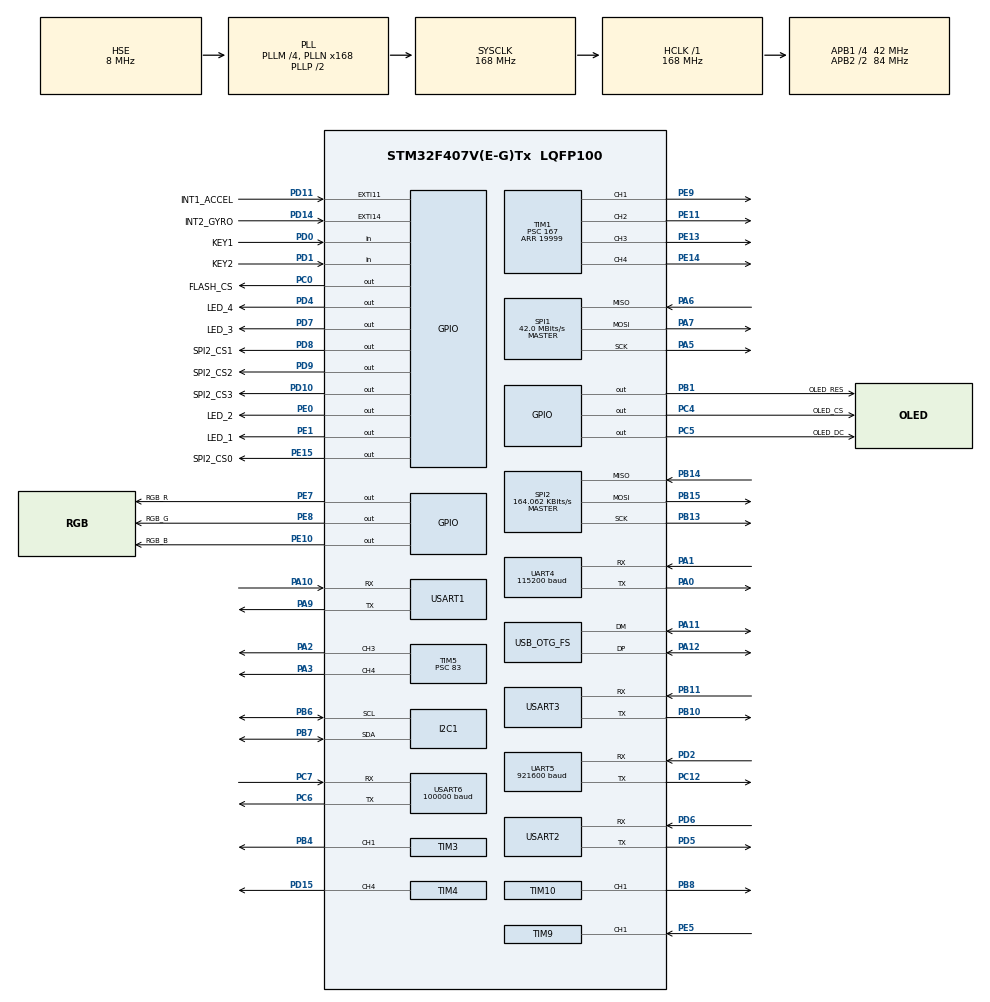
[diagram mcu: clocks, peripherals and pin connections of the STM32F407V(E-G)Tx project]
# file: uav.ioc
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Dma.Request0=USART6_RX
Dma.Request1=SPI1_RX
Dma.Request10=UART5_RX
Dma.Request11=UART5_TX
Dma.Request12=SPI1_TX
Dma.Request2=SPI2_RX
Dma.Request3=USART3_RX
Dma.Request4=USART3_TX
Dma.Request5=USART1_TX
Dma.Request6=USART1_RX
Dma.Request7=USART2_RX
Dma.Request8=USART2_TX
Dma.Request9=UART4_RX
Dma.SPI1_RX.1.Direction=DMA_PERIPH_TO_MEMORY
Dma.SPI1_RX.1.FIFOMode=DMA_FIFOMODE_DISABLE
Dma.SPI1_RX.1.Instance=DMA2_Stream2
Dma.SPI1_RX.1.MemDataAlignment=DMA_MDATAALIGN_BYTE
Dma.SPI1_RX.1.MemInc=DMA_MINC_ENABLE
Dma.SPI1_RX.1.Mode=DMA_NORMAL
Dma.SPI1_RX.1.PeriphDataAlignment=DMA_PDATAALIGN_BYTE
Dma.SPI1_RX.1.PeriphInc=DMA_PINC_DISABLE
Dma.SPI1_RX.1.Priority=DMA_PRIORITY_LOW
Dma.SPI1_TX.12.Direction=DMA_MEMORY_TO_PERIPH
Dma.SPI1_TX.12.FIFOMode=DMA_FIFOMODE_DISABLE
Dma.SPI1_TX.12.Instance=DMA2_Stream3
Dma.SPI1_TX.12.MemDataAlignment=DMA_MDATAALIGN_BYTE
Dma.SPI1_TX.12.MemInc=DMA_MINC_ENABLE
Dma.SPI1_TX.12.Mode=DMA_NORMAL
Dma.SPI1_TX.12.PeriphDataAlignment=DMA_PDATAALIGN_BYTE
Dma.SPI1_TX.12.PeriphInc=DMA_PINC_DISABLE
Dma.SPI1_TX.12.Priority=DMA_PRIORITY_LOW
Dma.SPI2_RX.2.Direction=DMA_PERIPH_TO_MEMORY
Dma.SPI2_RX.2.FIFOMode=DMA_FIFOMODE_DISABLE
Dma.SPI2_RX.2.Instance=DMA1_Stream3
Dma.SPI2_RX.2.MemDataAlignment=DMA_MDATAALIGN_BYTE
Dma.SPI2_RX.2.MemInc=DMA_MINC_ENABLE
Dma.SPI2_RX.2.Mode=DMA_NORMAL
Dma.SPI2_RX.2.PeriphDataAlignment=DMA_PDATAALIGN_BYTE
Dma.SPI2_RX.2.PeriphInc=DMA_PINC_DISABLE
Dma.SPI2_RX.2.Priority=DMA_PRIORITY_LOW
Dma.UART4_RX.9.Direction=DMA_PERIPH_TO_MEMORY
Dma.UART4_RX.9.FIFOMode=DMA_FIFOMODE_DISABLE
Dma.UART4_RX.9.Instance=DMA1_Stream2
Dma.UART4_RX.9.MemDataAlignment=DMA_MDATAALIGN_BYTE
Dma.UART4_RX.9.MemInc=DMA_MINC_ENABLE
Dma.UART4_RX.9.Mode=DMA_NORMAL
Dma.UART4_RX.9.PeriphDataAlignment=DMA_PDATAALIGN_BYTE
Dma.UART4_RX.9.PeriphInc=DMA_PINC_DISABLE
Dma.UART4_RX.9.Priority=DMA_PRIORITY_LOW
Dma.UART5_RX.10.Direction=DMA_PERIPH_TO_MEMORY
Dma.UART5_RX.10.FIFOMode=DMA_FIFOMODE_DISABLE
Dma.UART5_RX.10.Instance=DMA1_Stream0
Dma.UART5_RX.10.MemDataAlignment=DMA_MDATAALIGN_BYTE
Dma.UART5_RX.10.MemInc=DMA_MINC_ENABLE
Dma.UART5_RX.10.Mode=DMA_NORMAL
Dma.UART5_RX.10.PeriphDataAlignment=DMA_PDATAALIGN_BYTE
Dma.UART5_RX.10.PeriphInc=DMA_PINC_DISABLE
Dma.UART5_RX.10.Priority=DMA_PRIORITY_LOW
Dma.UART5_TX.11.Direction=DMA_MEMORY_TO_PERIPH
Dma.UART5_TX.11.FIFOMode=DMA_FIFOMODE_DISABLE
Dma.UART5_TX.11.Instance=DMA1_Stream7
Dma.UART5_TX.11.MemDataAlignment=DMA_MDATAALIGN_BYTE
Dma.UART5_TX.11.MemInc=DMA_MINC_ENABLE
Dma.UART5_TX.11.Mode=DMA_NORMAL
Dma.UART5_TX.11.PeriphDataAlignment=DMA_PDATAALIGN_BYTE
Dma.UART5_TX.11.PeriphInc=DMA_PINC_DISABLE
Dma.UART5_TX.11.Priority=DMA_PRIORITY_LOW
Dma.USART1_RX.6.Direction=DMA_PERIPH_TO_MEMORY
Dma.USART1_RX.6.FIFOMode=DMA_FIFOMODE_DISABLE
Dma.USART1_RX.6.Instance=DMA2_Stream5
Dma.USART1_RX.6.MemDataAlignment=DMA_MDATAALIGN_BYTE
Dma.USART1_RX.6.MemInc=DMA_MINC_ENABLE
Dma.USART1_RX.6.Mode=DMA_NORMAL
Dma.USART1_RX.6.PeriphDataAlignment=DMA_PDATAALIGN_BYTE
Dma.USART1_RX.6.PeriphInc=DMA_PINC_DISABLE
Dma.USART1_RX.6.Priority=DMA_PRIORITY_LOW
Dma.USART1_TX.5.Direction=DMA_MEMORY_TO_PERIPH
Dma.USART1_TX.5.FIFOMode=DMA_FIFOMODE_DISABLE
Dma.USART1_TX.5.Instance=DMA2_Stream7
Dma.USART1_TX.5.MemDataAlignment=DMA_MDATAALIGN_BYTE
Dma.USART1_TX.5.MemInc=DMA_MINC_ENABLE
Dma.USART1_TX.5.Mode=DMA_NORMAL
Dma.USART1_TX.5.PeriphDataAlignment=DMA_PDATAALIGN_BYTE
Dma.USART1_TX.5.PeriphInc=DMA_PINC_DISABLE
Dma.USART1_TX.5.Priority=DMA_PRIORITY_LOW
Dma.USART2_RX.7.Direction=DMA_PERIPH_TO_MEMORY
Dma.USART2_RX.7.FIFOMode=DMA_FIFOMODE_DISABLE
Dma.USART2_RX.7.Instance=DMA1_Stream5
Dma.USART2_RX.7.MemDataAlignment=DMA_MDATAALIGN_BYTE
Dma.USART2_RX.7.MemInc=DMA_MINC_ENABLE
Dma.USART2_RX.7.Mode=DMA_NORMAL
Dma.USART2_RX.7.PeriphDataAlignment=DMA_PDATAALIGN_BYTE
Dma.USART2_RX.7.PeriphInc=DMA_PINC_DISABLE
Dma.USART2_RX.7.Priority=DMA_PRIORITY_LOW
Dma.USART2_TX.8.Direction=DMA_MEMORY_TO_PERIPH
Dma.USART2_TX.8.FIFOMode=DMA_FIFOMODE_DISABLE
Dma.USART2_TX.8.Instance=DMA1_Stream6
Dma.USART2_TX.8.MemDataAlignment=DMA_MDATAALIGN_BYTE
Dma.USART2_TX.8.MemInc=DMA_MINC_ENABLE
Dma.USART2_TX.8.Mode=DMA_NORMAL
Dma.USART2_TX.8.PeriphDataAlignment=DMA_PDATAALIGN_BYTE
Dma.USART2_TX.8.PeriphInc=DMA_PINC_DISABLE
Dma.USART2_TX.8.Priority=DMA_PRIORITY_LOW
Dma.USART3_RX.3.Direction=DMA_PERIPH_TO_MEMORY
Dma.USART3_RX.3.FIFOMode=DMA_FIFOMODE_DISABLE
Dma.USART3_RX.3.Instance=DMA1_Stream1
Dma.USART3_RX.3.MemDataAlignment=DMA_MDATAALIGN_BYTE
Dma.USART3_RX.3.MemInc=DMA_MINC_ENABLE
Dma.USART3_RX.3.Mode=DMA_NORMAL
Dma.USART3_RX.3.PeriphDataAlignment=DMA_PDATAALIGN_BYTE
Dma.USART3_RX.3.PeriphInc=DMA_PINC_DISABLE
Dma.USART3_RX.3.Priority=DMA_PRIORITY_LOW
Dma.USART3_TX.4.Direction=DMA_MEMORY_TO_PERIPH
Dma.USART3_TX.4.FIFOMode=DMA_FIFOMODE_DISABLE
Dma.USART3_TX.4.Instance=DMA1_Stream4
Dma.USART3_TX.4.MemDataAlignment=DMA_MDATAALIGN_BYTE
Dma.USART3_TX.4.MemInc=DMA_MINC_ENABLE
Dma.USART3_TX.4.Mode=DMA_NORMAL
Dma.USART3_TX.4.PeriphDataAlignment=DMA_PDATAALIGN_BYTE
Dma.USART3_TX.4.PeriphInc=DMA_PINC_DISABLE
Dma.USART3_TX.4.Priority=DMA_PRIORITY_LOW
Dma.USART6_RX.0.Direction=DMA_PERIPH_TO_MEMORY
Dma.USART6_RX.0.FIFOMode=DMA_FIFOMODE_DISABLE
Dma.USART6_RX.0.Instance=DMA2_Stream1
Dma.USART6_RX.0.MemDataAlignment=DMA_MDATAALIGN_BYTE
Dma.USART6_RX.0.MemInc=DMA_MINC_ENABLE
Dma.USART6_RX.0.Mode=DMA_NORMAL
Dma.USART6_RX.0.PeriphDataAlignment=DMA_PDATAALIGN_BYTE
Dma.USART6_RX.0.PeriphInc=DMA_PINC_DISABLE
Dma.USART6_RX.0.Priority=DMA_PRIORITY_LOW
FREERTOS.INCLUDE_pcTaskGetTaskName=1
FREERTOS.INCLUDE_vTaskDelayUntil=1
FREERTOS.INCLUDE_xTaskGetCurrentTaskHandle=1
FREERTOS.Tasks01=RGBTask,-3,128,RGB_Task_Proc,Default,NULL,Dynamic,NULL,NULL;KeyTask,-3,128,Key_Task_Proc,Default,NULL,Dynamic,NULL,NULL;BuzzerTask,-3,128,Buzzer_Task_Proc,Default,NULL,Dynamic,NULL,NULL;BleUart3Task,-3,128,Ble_Uart3_Task_Proc,Default,NULL,Dynamic,NULL,NULL;SbusUart6Task,-3,128,Sbus_Uart6_Task_Proc,Default,NULL,Dynamic,NULL,NULL;OLEDTask,-3,256,OLED_Task_Proc,Default,NULL,Dynamic,NULL,NULL;SensorDataTask,-2,512,Sensor_Data_Task_Proc,Default,NULL,Dynamic,NULL,NULL;FlashTask,-3,128,Flash_Task_Proc,Default,NULL,Dynamic,NULL,NULL;FlowTask,-3,128,Flow_Task_Proc,Default,NULL,Dynamic,NULL,NULL;PCTask,-3,256,PC_Task_Proc,Default,NULL,Dynamic,NULL,NULL;MotorTask,-3,128,Motor_Task_Proc,Default,NULL,Dynamic,NULL,NULL
FREERTOS.configGENERATE_RUN_TIME_STATS=1
FREERTOS.configUSE_STATS_FORMATTING_FUNCTIONS=1
FREERTOS.configUSE_TIMERS=1
FREERTOS.configUSE_TRACE_FACILITY=1
I2C1.I2C_Mode=I2C_Standard
Mcu.Family=STM32F4
Mcu.Name=STM32F407V(E-G)Tx
Mcu.Package=LQFP100
NVIC.DMA1_Stream3_IRQn=true\:5\:0\:false\:false\:true\:true\:false\:true\:true
NVIC.DMA1_Stream4_IRQn=true\:5\:0\:false\:false\:true\:true\:false\:true\:true
NVIC.DMA1_Stream6_IRQn=true\:5\:0\:false\:false\:true\:true\:false\:true\:true
NVIC.DMA1_Stream7_IRQn=true\:5\:0\:false\:false\:true\:true\:true\:true\:true
NVIC.DMA2_Stream7_IRQn=true\:5\:0\:false\:false\:true\:true\:false\:true\:true
NVIC.I2C1_ER_IRQn=true\:5\:0\:false\:false\:true\:true\:true\:true\:true
NVIC.I2C1_EV_IRQn=true\:5\:0\:false\:false\:true\:true\:true\:true\:true
NVIC.PriorityGroup=NVIC_PRIORITYGROUP_4
NVIC.SPI1_IRQn=true\:5\:0\:false\:false\:true\:true\:true\:true\:true
NVIC.SPI2_IRQn=true\:5\:0\:false\:false\:true\:true\:true\:true\:true
NVIC.TIM1_CC_IRQn=true\:5\:0\:false\:false\:true\:true\:true\:true\:true
NVIC.TIM4_IRQn=true\:5\:0\:false\:false\:true\:true\:true\:true\:true
NVIC.TIM5_IRQn=true\:5\:0\:false\:false\:true\:true\:true\:true\:true
NVIC.TIM6_DAC_IRQn=true\:5\:0\:false\:false\:true\:true\:true\:true\:true
NVIC.TIM7_IRQn=true\:15\:0\:false\:false\:true\:false\:false\:true\:true
NVIC.TimeBase=TIM7_IRQn
NVIC.TimeBaseIP=TIM7
NVIC.UART4_IRQn=true\:5\:0\:false\:false\:true\:true\:true\:true\:true
NVIC.UART5_IRQn=true\:5\:0\:false\:false\:true\:true\:true\:true\:true
NVIC.USART1_IRQn=true\:5\:0\:false\:false\:true\:true\:true\:true\:true
NVIC.USART2_IRQn=true\:5\:0\:false\:false\:true\:true\:true\:true\:true
NVIC.USART3_IRQn=true\:5\:0\:false\:false\:true\:true\:true\:true\:true
NVIC.USART6_IRQn=true\:5\:0\:false\:false\:true\:true\:true\:true\:true
PA0-WKUP.Mode=Asynchronous
PA0-WKUP.Signal=UART4_TX
PA1.Mode=Asynchronous
PA1.Signal=UART4_RX
PA10.Mode=Asynchronous
PA10.Signal=USART1_RX
PA11.Mode=Host_Only
PA11.Signal=USB_OTG_FS_DM
PA12.Mode=Host_Only
PA12.Signal=USB_OTG_FS_DP
PA13.Mode=Serial_Wire
PA13.Signal=SYS_JTMS-SWDIO
PA14.Mode=Serial_Wire
PA14.Signal=SYS_JTCK-SWCLK
PA2.Signal=S_TIM5_CH3
PA3.Signal=S_TIM5_CH4
PA5.Mode=Full_Duplex_Master
PA5.Signal=SPI1_SCK
PA6.Mode=Full_Duplex_Master
PA6.Signal=SPI1_MISO
PA7.Mode=Full_Duplex_Master
PA7.Signal=SPI1_MOSI
PA9.Mode=Asynchronous
PA9.Signal=USART1_TX
PB1.GPIO_Label=OLED_RES
PB1.Signal=GPIO_Output
PB10.Mode=Asynchronous
PB10.Signal=USART3_TX
PB11.Mode=Asynchronous
PB11.Signal=USART3_RX
PB13.Mode=Full_Duplex_Master
PB13.Signal=SPI2_SCK
PB14.Mode=Full_Duplex_Master
PB14.Signal=SPI2_MISO
PB15.Mode=Full_Duplex_Master
PB15.Signal=SPI2_MOSI
PB4.Signal=S_TIM3_CH1
PB6.Mode=I2C
PB6.Signal=I2C1_SCL
PB7.Mode=I2C
PB7.Signal=I2C1_SDA
PB8.GPIO_PuPd=GPIO_NOPULL
PB8.Signal=S_TIM10_CH1
PC0.GPIO_Label=FLASH_CS
PC0.Signal=GPIO_Output
PC12.Mode=Asynchronous
PC12.Signal=UART5_TX
PC4.GPIO_Label=OLED_CS
PC4.Signal=GPIO_Output
PC5.GPIO_Label=OLED_DC
PC5.Signal=GPIO_Output
PC6.Mode=Asynchronous
PC6.Signal=USART6_TX
PC7.Mode=Asynchronous
PC7.Signal=USART6_RX
PD0.GPIO_Label=KEY1
PD0.GPIO_PuPd=GPIO_PULLUP
PD0.Signal=GPIO_Input
PD1.GPIO_Label=KEY2
PD1.GPIO_PuPd=GPIO_PULLUP
PD1.Signal=GPIO_Input
PD10.GPIO_Label=SPI2_CS3
PD10.Signal=GPIO_Output
PD11.GPIO_Label=INT1_ACCEL
PD11.Signal=GPXTI11
PD14.GPIO_Label=INT2_GYRO
PD14.Signal=GPXTI14
PD15.Signal=S_TIM4_CH4
PD2.Mode=Asynchronous
PD2.Signal=UART5_RX
PD4.GPIO_Label=LED_4
PD4.Signal=GPIO_Output
PD5.Mode=Asynchronous
PD5.Signal=USART2_TX
PD6.Mode=Asynchronous
PD6.Signal=USART2_RX
PD7.GPIO_Label=LED_3
PD7.Signal=GPIO_Output
PD8.GPIO_Label=SPI2_CS1
PD8.Signal=GPIO_Output
PD9.GPIO_Label=SPI2_CS2
PD9.Signal=GPIO_Output
PE0.GPIO_Label=LED_2
PE0.Signal=GPIO_Output
PE1.GPIO_Label=LED_1
PE1.Signal=GPIO_Output
PE10.GPIO_Label=RGB_B
PE10.Signal=GPIO_Output
PE11.Signal=S_TIM1_CH2
PE13.Signal=S_TIM1_CH3
PE14.Signal=S_TIM1_CH4
PE15.GPIO_Label=SPI2_CS0
PE15.Signal=GPIO_Output
PE5.Signal=S_TIM9_CH1
PE7.GPIO_Label=RGB_R
PE7.Signal=GPIO_Output
PE8.GPIO_Label=RGB_G
PE8.Signal=GPIO_Output
PE9.Signal=S_TIM1_CH1
PH0-OSC_IN.Mode=HSE-External-Oscillator
PH0-OSC_IN.Signal=RCC_OSC_IN
PH1-OSC_OUT.Mode=HSE-External-Oscillator
PH1-OSC_OUT.Signal=RCC_OSC_OUT
ProjectManager.HeapSize=0x200
ProjectManager.StackSize=0x400
ProjectManager.TargetToolchain=MDK-ARM V5.32
RCC.48MHZClocksFreq_Value=48000000
RCC.AHBFreq_Value=168000000
RCC.APB1CLKDivider=RCC_HCLK_DIV4
RCC.APB1Freq_Value=42000000
RCC.APB1TimFreq_Value=84000000
RCC.APB2CLKDivider=RCC_HCLK_DIV2
RCC.APB2Freq_Value=84000000
RCC.APB2TimFreq_Value=168000000
RCC.CortexFreq_Value=168000000
RCC.HCLKFreq_Value=168000000
RCC.HSE_VALUE=8000000
RCC.HSI_VALUE=16000000
RCC.LSE_VALUE=32768
RCC.PLLM=4
RCC.PLLN=168
RCC.PLLQ=7
RCC.SYSCLKFreq_VALUE=168000000
RCC.SYSCLKSource=RCC_SYSCLKSOURCE_PLLCLK
RCC.VCOOutputFreq_Value=336000000
SH.S_TIM10_CH1.0=TIM10_CH1,PWM Generation1 CH1
SH.S_TIM1_CH1.0=TIM1_CH1,PWM Generation1 CH1
SH.S_TIM1_CH2.0=TIM1_CH2,PWM Generation2 CH2
SH.S_TIM1_CH3.0=TIM1_CH3,PWM Generation3 CH3
SH.S_TIM1_CH4.0=TIM1_CH4,PWM Generation4 CH4
SH.S_TIM3_CH1.0=TIM3_CH1,PWM Generation1 CH1
SH.S_TIM4_CH4.0=TIM4_CH4,PWM Generation4 CH4
SH.S_TIM5_CH3.0=TIM5_CH3,PWM Generation3 CH3
SH.S_TIM5_CH4.0=TIM5_CH4,PWM Generation4 CH4
SH.S_TIM9_CH1.0=TIM9_CH1,Input_Capture1_from_TI1
SPI1.CLKPhase=SPI_PHASE_2EDGE
SPI1.CLKPolarity=SPI_POLARITY_HIGH
SPI1.CalculateBaudRate=42.0 MBits/s
SPI1.Direction=SPI_DIRECTION_2LINES
SPI1.Mode=SPI_MODE_MASTER
SPI1.VirtualType=VM_MASTER
SPI2.BaudRatePrescaler=SPI_BAUDRATEPRESCALER_256
SPI2.CLKPhase=SPI_PHASE_2EDGE
SPI2.CLKPolarity=SPI_POLARITY_HIGH
SPI2.CalculateBaudRate=164.062 KBits/s
SPI2.Direction=SPI_DIRECTION_2LINES
SPI2.Mode=SPI_MODE_MASTER
SPI2.VirtualType=VM_MASTER
TIM1.Channel-PWM\ Generation1\ CH1=TIM_CHANNEL_1
TIM1.Channel-PWM\ Generation2\ CH2=TIM_CHANNEL_2
TIM1.Channel-PWM\ Generation3\ CH3=TIM_CHANNEL_3
TIM1.Channel-PWM\ Generation4\ CH4=TIM_CHANNEL_4
TIM1.Period=19999
TIM1.Prescaler=167
TIM1.Pulse-PWM\ Generation1\ CH1=10
TIM1.Pulse-PWM\ Generation2\ CH2=20
TIM1.Pulse-PWM\ Generation3\ CH3=30
TIM1.Pulse-PWM\ Generation4\ CH4=40
TIM10.Channel=TIM_CHANNEL_1
TIM10.Prescaler=167
TIM12.Period=49
TIM12.Prescaler=79
TIM3.Channel-PWM\ Generation1\ CH1=TIM_CHANNEL_1
TIM4.Channel-PWM\ Generation4\ CH4=TIM_CHANNEL_4
TIM4.Prescaler=83
TIM5.Channel-PWM\ Generation3\ CH3=TIM_CHANNEL_3
TIM5.Channel-PWM\ Generation4\ CH4=TIM_CHANNEL_4
TIM5.Prescaler=83
TIM6.Prescaler=168
TIM9.Channel-Input_Capture1_from_TI1=TIM_CHANNEL_1
TIM9.Channel-Input_Capture2_from_TI1_63=TIM_CHANNEL_2
TIM9.Prescaler=167
UART4.BaudRate=115200
UART4.VirtualMode=Asynchronous
UART5.BaudRate=921600
UART5.VirtualMode=Asynchronous
USART1.VirtualMode=VM_ASYNC
USART2.VirtualMode=VM_ASYNC
USART3.VirtualMode=VM_ASYNC
USART6.BaudRate=100000
USART6.Mode=MODE_RX
USART6.OverSampling=UART_OVERSAMPLING_16
USART6.Parity=PARITY_EVEN
USART6.StopBits=STOPBITS_1
USART6.VirtualMode=VM_ASYNC
USART6.WordLength=WORDLENGTH_9B
USB_OTG_FS.VirtualMode=Host_Only
USB_OTG_FS.phy_itface=HCD_PHY_EMBEDDED
VP_FREERTOS_VS_CMSIS_V1.Mode=CMSIS_V1
VP_SYS_VS_tim7.Mode=TIM7
VP_TIM10_VS_ClockSourceINT.Mode=Enable_Timer
VP_TIM11_VS_ClockSourceINT.Mode=Enable_Timer
VP_TIM12_VS_ClockSourceINT.Mode=Internal
VP_TIM5_VS_OPM.Mode=OPM_bit
VP_TIM6_VS_ClockSourceINT.Mode=Enable_Timer
VP_TIM9_VS_indirect_ch1.Mode=Input_Capture2_from_TI1_63
board=custom

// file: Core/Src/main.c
/* USER CODE BEGIN Header */
/**
  ******************************************************************************
  * @file           : main.c
  * @brief          : Main program body
  ******************************************************************************
  * @attention
  *
  * Copyright (c) 2024 STMicroelectronics.
  * All rights reserved.
  *
  * This software is licensed under terms that can be found in the LICENSE file
  * in the root directory of this software component.
  * If no LICENSE file comes with this software, it is provided AS-IS.
  *
  ******************************************************************************
  */
/* USER CODE END Header */
#include "main.h"
#include "cmsis_os.h"
#include "dma.h"
#include "i2c.h"
#include "spi.h"
#include "tim.h"
#include "usart.h"
#include "usb_otg.h"
#include "gpio.h"

/* USER CODE BEGIN Includes */
extern void app_fatal(void);
#include "pc_proc.h"
#include "usart.h"
#include "usb_otg.h"
#include "gpio.h"
#include "dma.h"
#include "sbus_proc.h"
#include "led_proc.h"
#include "oled_proc.h"
#include "parameter.h"
#include "AHRS.h"
#include "flow_proc.h"
#include "string.h"
/* USER CODE END Includes */

/* USER CODE BEGIN PTD */
u8 SbusRxBuf[100];
u8 BleLogRxBuf[200];
u8 uart1RX[100];
u8 uart1TX[100];
u8 uart2RX[200];
u8 uart2TX[200];
u8 uart4RX[200];
u8 uart4TX[200];
u8 uart5RX[200];
u8 uart5TX[200];
/* USER CODE END PTD */

/* USER CODE BEGIN PV */
extern int W25QXX_Init(void);
/* USER CODE END PV */

void SystemClock_Config(void);
void MX_FREERTOS_Init(void);

int main(void)
{

  /* MCU Configuration--------------------------------------------------------*/

  /* Reset of all peripherals, Initializes the Flash interface and the Systick. */
  HAL_Init();

  /* Configure the system clock */
  SystemClock_Config();

  /* Initialize all configured peripherals */
  MX_GPIO_Init();
  MX_DMA_Init();
  MX_I2C1_Init();
  MX_SPI1_Init();
  MX_SPI2_Init();
  MX_TIM1_Init();
  MX_TIM3_Init();
  MX_TIM4_Init();
  MX_TIM5_Init();
  MX_TIM6_Init();
  MX_TIM9_Init();
  MX_TIM10_Init();
  MX_TIM11_Init();
  MX_UART4_Init();
  MX_UART5_Init();
  MX_USART1_UART_Init();
  MX_USART2_UART_Init();
  MX_USART3_UART_Init();
  MX_USART6_UART_Init();
  MX_USB_OTG_FS_HCD_Init();
  MX_TIM12_Init();
  /* USER CODE BEGIN 2 */
  HAL_TIM_PWM_Start(&htim1,TIM_CHANNEL_1);
	HAL_TIM_PWM_Start(&htim1,TIM_CHANNEL_2);
	HAL_TIM_PWM_Start(&htim1,TIM_CHANNEL_3);
	HAL_TIM_PWM_Start(&htim1,TIM_CHANNEL_4);

	HAL_UARTEx_ReceiveToIdle_DMA(&huart6, SbusRxBuf, sizeof(SbusRxBuf));
    __HAL_DMA_DISABLE_IT(huart6.hdmarx, DMA_IT_HT);
	HAL_UARTEx_ReceiveToIdle_DMA(&huart1, uart1RX, sizeof(uart1RX));
    __HAL_DMA_DISABLE_IT(huart1.hdmarx, DMA_IT_HT);
	HAL_UARTEx_ReceiveToIdle_DMA(&huart5, uart5RX, sizeof(uart5RX));
    __HAL_DMA_DISABLE_IT(huart5.hdmarx, DMA_IT_HT);
	HAL_UARTEx_ReceiveToIdle_DMA(&huart4, uart4RX, sizeof(uart4RX));
    __HAL_DMA_DISABLE_IT(huart4.hdmarx, DMA_IT_HT);
	HAL_UARTEx_ReceiveToIdle_DMA(&huart2, uart2RX, sizeof(uart2RX));
    __HAL_DMA_DISABLE_IT(huart2.hdmarx, DMA_IT_HT);
	HAL_UARTEx_ReceiveToIdle_DMA(&huart3, BleLogRxBuf, sizeof(BleLogRxBuf));
    __HAL_DMA_DISABLE_IT(huart3.hdmarx, DMA_IT_HT);
	//HAL_UARTEx_ReceiveToIdle_DMA(&huart4, uart4RX, 100)
	//spi cs脚初始化

	if(W25QXX_Init()!=0)Error_Handler();   //flash初始化
  /* USER CODE END 2 */

  /* Call init function for freertos objects (in freertos.c) */
  MX_FREERTOS_Init();
  /* Start scheduler */
  osKernelStart();

  /* We should never get here as control is now taken by the scheduler */
  /* Infinite loop */
  while (1)
  {

  }
}

void SystemClock_Config(void)
{
  RCC_OscInitTypeDef RCC_OscInitStruct = {0};
  RCC_ClkInitTypeDef RCC_ClkInitStruct = {0};

  /** Configure the main internal regulator output voltage
  */
  __HAL_RCC_PWR_CLK_ENABLE();
  __HAL_PWR_VOLTAGESCALING_CONFIG(PWR_REGULATOR_VOLTAGE_SCALE1);
  /** Initializes the RCC Oscillators according to the specified parameters
  * in the RCC_OscInitTypeDef structure.
  */
  RCC_OscInitStruct.OscillatorType = RCC_OSCILLATORTYPE_HSE;
  RCC_OscInitStruct.HSEState = RCC_HSE_ON;
  RCC_OscInitStruct.PLL.PLLState = RCC_PLL_ON;
  RCC_OscInitStruct.PLL.PLLSource = RCC_PLLSOURCE_HSE;
  RCC_OscInitStruct.PLL.PLLM = 4;
  RCC_OscInitStruct.PLL.PLLN = 168;
  RCC_OscInitStruct.PLL.PLLP = RCC_PLLP_DIV2;
  RCC_OscInitStruct.PLL.PLLQ = 7;
  if (HAL_RCC_OscConfig(&RCC_OscInitStruct) != HAL_OK)
  {
    Error_Handler();
  }
  /** Initializes the CPU, AHB and APB buses clocks
  */
  RCC_ClkInitStruct.ClockType = RCC_CLOCKTYPE_HCLK|RCC_CLOCKTYPE_SYSCLK
                              |RCC_CLOCKTYPE_PCLK1|RCC_CLOCKTYPE_PCLK2;
  RCC_ClkInitStruct.SYSCLKSource = RCC_SYSCLKSOURCE_PLLCLK;
  RCC_ClkInitStruct.AHBCLKDivider = RCC_SYSCLK_DIV1;
  RCC_ClkInitStruct.APB1CLKDivider = RCC_HCLK_DIV4;
  RCC_ClkInitStruct.APB2CLKDivider = RCC_HCLK_DIV2;

  if (HAL_RCC_ClockConfig(&RCC_ClkInitStruct, FLASH_LATENCY_5) != HAL_OK)
  {
    Error_Handler();
  }
}

/* USER CODE BEGIN 4 */
void HAL_UARTEx_RxEventCallback(UART_HandleTypeDef *huart, uint16_t Size)
{

		if(huart->Instance == USART1)
	{
		PC_Data_Rx_Proc(Size);
		HAL_UARTEx_ReceiveToIdle_DMA(&huart1, uart1RX, sizeof(uart1RX));
    __HAL_DMA_DISABLE_IT(huart1.hdmarx, DMA_IT_HT);
	}
	else if(huart->Instance == USART2)
	{
		//HAL_UART_Transmit(&huart2, uart2RX, Size, 50);
		Flow_Data_Proc(Size);
		HAL_UARTEx_ReceiveToIdle_DMA(&huart2, uart2RX, sizeof(uart2RX));
    __HAL_DMA_DISABLE_IT(huart2.hdmarx, DMA_IT_HT);
	}
	else if(huart->Instance == USART3)
	{
		/* UART3 debug echo removed; RX interrupt never waits for TX. */
		HAL_UARTEx_ReceiveToIdle_DMA(&huart3, BleLogRxBuf, sizeof(BleLogRxBuf));
    __HAL_DMA_DISABLE_IT(huart3.hdmarx, DMA_IT_HT);
	}
	else if(huart->Instance == UART4)
	{
		//printf("1111111111");
		AHRS_Uart4_IDLE_Proc(Size);
//	  HAL_UART_Transmit(&huart4, uart4RX, Size, 50);
		HAL_UARTEx_ReceiveToIdle_DMA(&huart4, uart4RX, sizeof(uart4RX));
    __HAL_DMA_DISABLE_IT(huart4.hdmarx, DMA_IT_HT);
	}
	else if(huart->Instance == UART5)
	{
//		printf("1111111111");
//		AHRS_Uart4_IDLE_Proc(Size);
		//HAL_UART_Transmit(&huart5, uart5RX, Size, 50);
		HAL_UARTEx_ReceiveToIdle_DMA(&huart5, uart5RX, sizeof(uart5RX));
    __HAL_DMA_DISABLE_IT(huart5.hdmarx, DMA_IT_HT);
	}
		else if(huart->Instance == USART6)
	{
		//printf("1111111111");
		//Sbus_Uart6_IDLE_Proc(Size);
		//printf("length : %d\r\n",Size);
		//sprintf((char *)TxBufTemp, "hello world");
		//HAL_UART_Transmit(&huart3, SbusRxBuf,Size, 50);
		Sbus_Uart6_IDLE_Proc(Size);
    //HAL_UART_Transmit_DMA(&huart1, SbusRxBuf, Size);
		HAL_UARTEx_ReceiveToIdle_DMA(&huart6, SbusRxBuf, sizeof(SbusRxBuf));
    __HAL_DMA_DISABLE_IT(huart6.hdmarx, DMA_IT_HT);

	}

}

void HAL_UART_ErrorCallback(UART_HandleTypeDef *huart)
{
	if(huart == &huart6)
	{
//执行HAL_UART_ErrorCallback时，还处于lock，需先unlock，
//因为HAL_UART_Receive_IT执行时需判断如果是lock则直接返回BUSY
		__HAL_UNLOCK(huart);
		HAL_UARTEx_ReceiveToIdle_DMA(&huart6, SbusRxBuf, sizeof(SbusRxBuf));
    __HAL_DMA_DISABLE_IT(huart6.hdmarx, DMA_IT_HT);	//SBUS接受 串口通信初始化
	}

	if(huart == &huart4)
	{
//执行HAL_UART_ErrorCallback时，还处于lock，需先unlock，
//因为HAL_UART_Receive_IT执行时需判断如果是lock则直接返回BUSY
		__HAL_UNLOCK(huart);
		HAL_UARTEx_ReceiveToIdle_DMA(&huart4, uart4RX, sizeof(uart4RX));
    __HAL_DMA_DISABLE_IT(huart4.hdmarx, DMA_IT_HT);	//SBUS接受 串口通信初始化
	}

	if(huart == &huart2)
	{
//执行HAL_UART_ErrorCallback时，还处于lock，需先unlock，
//因为HAL_UART_Receive_IT执行时需判断如果是lock则直接返回BUSY
		__HAL_UNLOCK(huart);
		HAL_UARTEx_ReceiveToIdle_DMA(&huart2, uart2RX, sizeof(uart2RX));
    __HAL_DMA_DISABLE_IT(huart2.hdmarx, DMA_IT_HT);	//SBUS接受 串口通信初始化
	}

}
//void HAL_UART_RxCpltCallback(UART_HandleTypeDef *huart)
//{

//}
/* USER CODE END 4 */

void HAL_TIM_PeriodElapsedCallback(TIM_HandleTypeDef *htim)
{
  if (htim->Instance == TIM7) {
    HAL_IncTick();
  }
}

void Error_Handler(void)
{
  /* USER CODE BEGIN Error_Handler_Debug */
  app_fatal();
  /* User can add his own implementation to report the HAL error return state */
  __disable_irq();
  while (1)
  {
  }
  /* USER CODE END Error_Handler_Debug */
}

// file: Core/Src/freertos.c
/* USER CODE BEGIN Header */
/**
  ******************************************************************************
  * File Name          : freertos.c
  * Description        : Code for freertos applications
  ******************************************************************************
  * @attention
  *
  * Copyright (c) 2023 STMicroelectronics.
  * All rights reserved.
  *
  * This software is licensed under terms that can be found in the LICENSE file
  * in the root directory of this software component.
  * If no LICENSE file comes with this software, it is provided AS-IS.
  *
  ******************************************************************************
  */
/* USER CODE END Header */

#include "FreeRTOS.h"
#include "task.h"
#include "main.h"
#include "cmsis_os.h"

/* USER CODE BEGIN Includes */
#define APP_RTOS_EXTERNAL_TASKS 1
extern void app_tasks_init(void);
/* USER CODE END Includes */

/* USER CODE BEGIN Variables */
#if !APP_RTOS_EXTERNAL_TASKS
/* USER CODE END Variables */
osThreadId RGBTaskHandle;
osThreadId KeyTaskHandle;
osThreadId BuzzerTaskHandle;
osThreadId BleUart3TaskHandle;
osThreadId SbusUart6TaskHandle;
osThreadId OLEDTaskHandle;
osThreadId SensorDataTaskHandle;
osThreadId FlashTaskHandle;
osThreadId FlowTaskHandle;
osThreadId PCTaskHandle;
osThreadId MotorTaskHandle;

/* USER CODE BEGIN FunctionPrototypes */
#endif
#if !APP_RTOS_EXTERNAL_TASKS
/* USER CODE END FunctionPrototypes */

void RGB_Task_Proc(void const * argument);
void Key_Task_Proc(void const * argument);
void Buzzer_Task_Proc(void const * argument);
void Ble_Uart3_Task_Proc(void const * argument);
void Sbus_Uart6_Task_Proc(void const * argument);
void OLED_Task_Proc(void const * argument);
void Sensor_Data_Task_Proc(void const * argument);
void Flash_Task_Proc(void const * argument);
void Flow_Task_Proc(void const * argument);
void PC_Task_Proc(void const * argument);
void Motor_Task_Proc(void const * argument);

void MX_FREERTOS_Init(void); /* (MISRA C 2004 rule 8.1) */

/* GetIdleTaskMemory prototype (linked to static allocation support) */
void vApplicationGetIdleTaskMemory( StaticTask_t **ppxIdleTaskTCBBuffer, StackType_t **ppxIdleTaskStackBuffer, uint32_t *pulIdleTaskStackSize );

/* GetTimerTaskMemory prototype (linked to static allocation support) */
void vApplicationGetTimerTaskMemory( StaticTask_t **ppxTimerTaskTCBBuffer, StackType_t **ppxTimerTaskStackBuffer, uint32_t *pulTimerTaskStackSize );

/* Hook prototypes */
void configureTimerForRunTimeStats(void);
unsigned long getRunTimeCounterValue(void);

/* USER CODE BEGIN 1 */
#endif
__weak void configureTimerForRunTimeStats(void) {}
__weak unsigned long getRunTimeCounterValue(void) {return 0;}
/* USER CODE END 1 */

/* USER CODE BEGIN GET_IDLE_TASK_MEMORY */
static StaticTask_t xIdleTaskTCBBuffer;
static StackType_t xIdleStack[configMINIMAL_STACK_SIZE];

void vApplicationGetIdleTaskMemory( StaticTask_t **ppxIdleTaskTCBBuffer, StackType_t **ppxIdleTaskStackBuffer, uint32_t *pulIdleTaskStackSize )
{
  *ppxIdleTaskTCBBuffer = &xIdleTaskTCBBuffer;
  *ppxIdleTaskStackBuffer = &xIdleStack[0];
  *pulIdleTaskStackSize = configMINIMAL_STACK_SIZE;
  /* place for user code */
}
/* USER CODE END GET_IDLE_TASK_MEMORY */

/* USER CODE BEGIN GET_TIMER_TASK_MEMORY */
static StaticTask_t xTimerTaskTCBBuffer;
static StackType_t xTimerStack[configTIMER_TASK_STACK_DEPTH];

void vApplicationGetTimerTaskMemory( StaticTask_t **ppxTimerTaskTCBBuffer, StackType_t **ppxTimerTaskStackBuffer, uint32_t *pulTimerTaskStackSize )
{
  *ppxTimerTaskTCBBuffer = &xTimerTaskTCBBuffer;
  *ppxTimerTaskStackBuffer = &xTimerStack[0];
  *pulTimerTaskStackSize = configTIMER_TASK_STACK_DEPTH;
  /* place for user code */
}
/* USER CODE END GET_TIMER_TASK_MEMORY */

void MX_FREERTOS_Init(void) {
  /* USER CODE BEGIN Init */
app_tasks_init();
/* USER CODE END Init */

  /* USER CODE BEGIN RTOS_QUEUES */
#if !APP_RTOS_EXTERNAL_TASKS
/* USER CODE END RTOS_QUEUES */

  /* Create the thread(s) */
  /* definition and creation of RGBTask */
  osThreadDef(RGBTask, RGB_Task_Proc, osPriorityIdle, 0, 128);
  RGBTaskHandle = osThreadCreate(osThread(RGBTask), NULL);

  /* definition and creation of KeyTask */
  osThreadDef(KeyTask, Key_Task_Proc, osPriorityIdle, 0, 128);
  KeyTaskHandle = osThreadCreate(osThread(KeyTask), NULL);

  /* definition and creation of BuzzerTask */
  osThreadDef(BuzzerTask, Buzzer_Task_Proc, osPriorityIdle, 0, 128);
  BuzzerTaskHandle = osThreadCreate(osThread(BuzzerTask), NULL);

  /* definition and creation of BleUart3Task */
  osThreadDef(BleUart3Task, Ble_Uart3_Task_Proc, osPriorityIdle, 0, 128);
  BleUart3TaskHandle = osThreadCreate(osThread(BleUart3Task), NULL);

  /* definition and creation of SbusUart6Task */
  osThreadDef(SbusUart6Task, Sbus_Uart6_Task_Proc, osPriorityIdle, 0, 128);
  SbusUart6TaskHandle = osThreadCreate(osThread(SbusUart6Task), NULL);

  /* definition and creation of OLEDTask */
  osThreadDef(OLEDTask, OLED_Task_Proc, osPriorityIdle, 0, 256);
  OLEDTaskHandle = osThreadCreate(osThread(OLEDTask), NULL);

  /* definition and creation of SensorDataTask */
  osThreadDef(SensorDataTask, Sensor_Data_Task_Proc, osPriorityLow, 0, 512);
  SensorDataTaskHandle = osThreadCreate(osThread(SensorDataTask), NULL);

  /* definition and creation of FlashTask */
  osThreadDef(FlashTask, Flash_Task_Proc, osPriorityIdle, 0, 128);
  FlashTaskHandle = osThreadCreate(osThread(FlashTask), NULL);

  /* definition and creation of FlowTask */
  osThreadDef(FlowTask, Flow_Task_Proc, osPriorityIdle, 0, 128);
  FlowTaskHandle = osThreadCreate(osThread(FlowTask), NULL);

  /* definition and creation of PCTask */
  osThreadDef(PCTask, PC_Task_Proc, osPriorityIdle, 0, 256);
  PCTaskHandle = osThreadCreate(osThread(PCTask), NULL);

  /* definition and creation of MotorTask */
  osThreadDef(MotorTask, Motor_Task_Proc, osPriorityIdle, 0, 128);
  MotorTaskHandle = osThreadCreate(osThread(MotorTask), NULL);

  /* USER CODE BEGIN RTOS_THREADS */
#endif
/* USER CODE END RTOS_THREADS */

}

/* USER CODE BEGIN Header_RGB_Task_Proc */
#if !APP_RTOS_EXTERNAL_TASKS
/* USER CODE END Header_RGB_Task_Proc */
void RGB_Task_Proc(void const * argument)
{
  for(;;)
  {
    osDelay(1);
  }
}

void Key_Task_Proc(void const * argument)
{
  for(;;)
  {
    osDelay(1);
  }
}

void Buzzer_Task_Proc(void const * argument)
{
  for(;;)
  {
    osDelay(1);
  }
}

void Ble_Uart3_Task_Proc(void const * argument)
{
  for(;;)
  {
    osDelay(1);
  }
}

void Sbus_Uart6_Task_Proc(void const * argument)
{
  for(;;)
  {
    osDelay(1);
  }
}

void OLED_Task_Proc(void const * argument)
{
  for(;;)
  {
    osDelay(1);
  }
}

void Sensor_Data_Task_Proc(void const * argument)
{
  for(;;)
  {
    osDelay(1);
  }
}

void Flash_Task_Proc(void const * argument)
{
  for(;;)
  {
    osDelay(1);
  }
}

void Flow_Task_Proc(void const * argument)
{
  for(;;)
  {
    osDelay(1);
  }
}

void PC_Task_Proc(void const * argument)
{
  for(;;)
  {
    osDelay(1);
  }
}

void Motor_Task_Proc(void const * argument)
{
  for(;;)
  {
    osDelay(1);
  }
}

/* USER CODE BEGIN Application */
#endif
/* USER CODE END Application */
